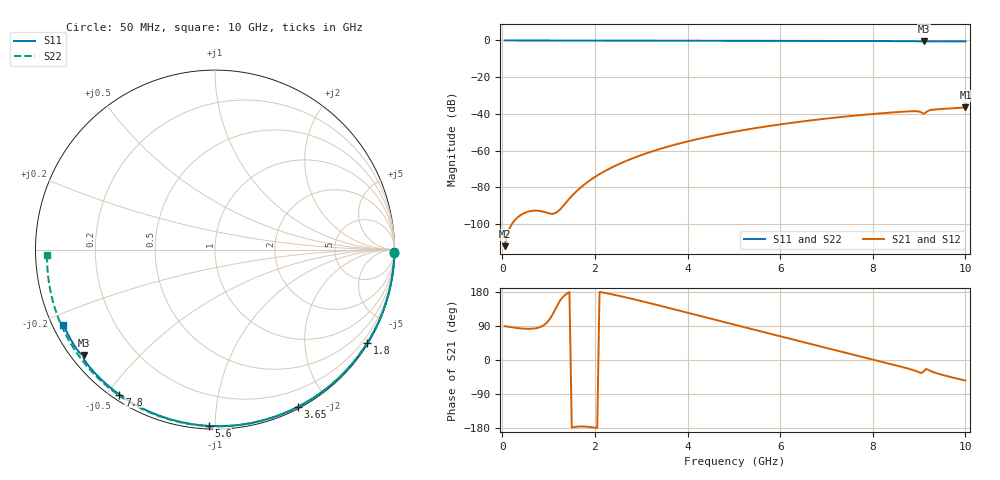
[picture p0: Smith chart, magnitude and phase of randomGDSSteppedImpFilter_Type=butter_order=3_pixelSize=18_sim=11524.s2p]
! freq	dB(S11)	phase(S11)	dB(S12)	phase(S12)
!  dB(S21)	phase(S21)	dB(S22)	phase(S22)
!S-par simulation data
#  GHz  S  DB  R 50
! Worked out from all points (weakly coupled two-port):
!   200 points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, 50 MHz to 10 GHz, reference 50 ohm
!   highest |S21| = -36.53 dB at 10 GHz (marker M1); lowest = -112.1 dB at 50 MHz (marker M2)
!   lowest |S11| = -0.6 dB at 9.1 GHz (marker M3), VSWR 30.73, Z = 1.83 - j17.6 ohm
!   |S11| at or under -10 dB: nowhere
!   |S22| runs from -0.6 to 0.0 dB; largest |S21 - S12| = 0
!   S11 on the Smith chart (normalised r, x): 50 MHz: open; 1.8 GHz: 0.03, -3.54; 3.65 GHz: 0.02, -1.66; 5.6 GHz: 0.02, -0.96; 7.8 GHz: 0.02, -0.54; 10 GHz: 0.03, -0.23
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0.05  -0.00 -0.9  -112.14 89.2  -112.14 89.2  -0.00 -1.0
0.85  -0.02 -15.0  -93.12 88.7  -93.12 88.7  -0.02 -17.2
1.7  -0.04 -29.8  -79.99 -175.3  -79.99 -175.3  -0.04 -34.1
1.75  -0.04 -30.7  -78.94 -175.4  -78.94 -175.4  -0.04 -35.1
1.8  -0.04 -31.5  -77.95 -175.7  -77.95 -175.7  -0.05 -36.1
2.1  -0.05 -36.6  -72.86 179.6  -72.86 179.6  -0.05 -41.9
2.5  -0.06 -43.4  -67.60 169.9  -67.60 169.9  -0.06 -49.6
2.9  -0.07 -50.0  -63.42 158.6  -63.42 158.6  -0.07 -57.1
3.4  -0.08 -58.2  -59.17 143.5  -59.17 143.5  -0.09 -66.4
3.65  -0.08 -62.2  -57.34 135.7  -57.34 135.7  -0.10 -71.0
4.35  -0.10 -73.2  -53.02 113.8  -53.02 113.8  -0.12 -83.4
5.05  -0.13 -83.9  -49.55 92.0  -49.55 92.0  -0.15 -95.6
5.6  -0.15 -92.1  -47.25 75.0  -47.25 75.0  -0.17 -104.9
6.7  -0.21 -108.0  -43.46 41.4  -43.46 41.4  -0.24 -123.1
7.8  -0.29 -123.4  -40.53 7.7  -40.53 7.7  -0.33 -141.0
8.35  -0.34 -131.0  -39.37 -9.3  -39.37 -9.3  -0.38 -150.0
8.95  -0.42 -139.6  -38.59 -29.9  -38.59 -29.9  -0.45 -160.0
9  -0.45 -140.4  -38.75 -32.4  -38.75 -32.4  -0.45 -160.8
9.1  -0.57 -141.2  -40.03 -30.2  -40.03 -30.2  -0.46 -162.5
9.2  -0.47 -142.2  -38.29 -25.9  -38.29 -25.9  -0.48 -164.2
9.25  -0.46 -142.9  -37.93 -29.0  -37.93 -29.0  -0.48 -165.1
10  -0.52 -153.7  -36.53 -54.2  -36.53 -54.2  -0.58 -178.3
